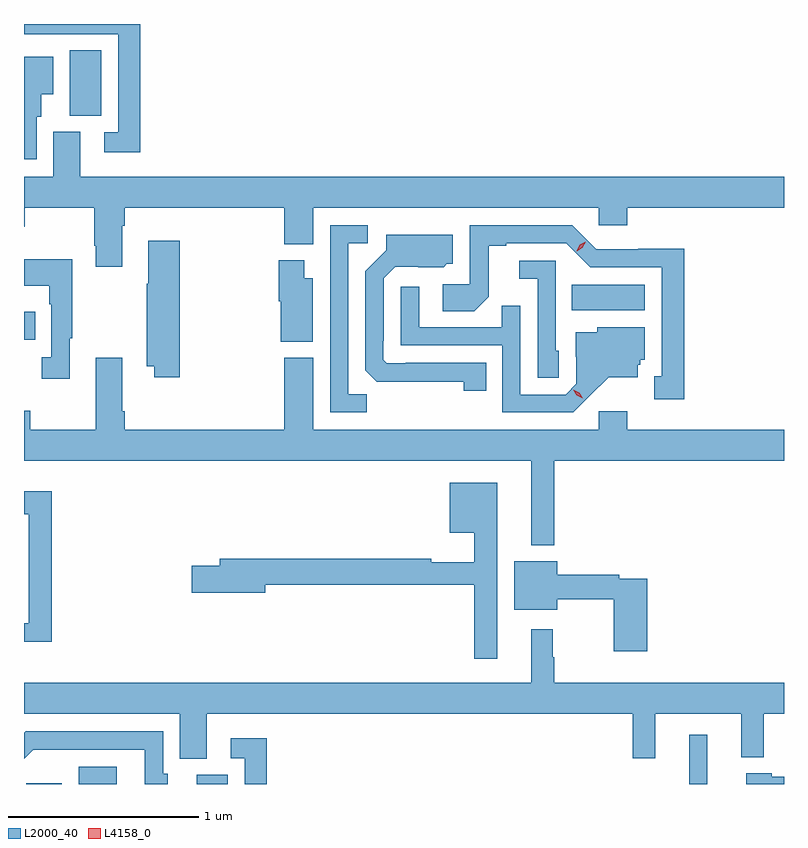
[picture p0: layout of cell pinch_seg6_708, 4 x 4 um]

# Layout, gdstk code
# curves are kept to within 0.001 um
import gdstk
lib = gdstk.Library(unit=1e-6, precision=1e-09)
def R(c, l, rs):  # rectangles x0, y0, x1, y1
    for r in rs: c.add(gdstk.rectangle(r[:2], r[2:], *l))
def P(c, l, *ps):  # polygons
    for p in ps: c.add(gdstk.Polygon(p, *l))
L2000_40 = (2000, 40)
L4158_0 = (4158, 0)

pinch_seg6_708 = lib.new_cell('pinch_seg6_708')
R(pinch_seg6_708, L2000_40, [(614.903,941.639,615.091,941.644), (615.18,941.639,615.379,941.73), (615.8,941.639,615.964,941.688), (618.392,941.639,618.489,941.899), (614.892,943.978,614.951,944.125), (617.776,944.132,618.16,944.266), (615.134,945.157,615.298,945.5)])
P(pinch_seg6_708, L2000_40, [(615.503,945.639),(614.892,945.639),(614.892,945.585),(615.387,945.585),(615.387,945.069),(615.315,945.069),(615.315,944.964),(615.503,944.964)],
  [(614.958,945.15),(614.983,945.15),(614.983,945.269),(615.046,945.269),(615.046,945.466),(614.892,945.466),(614.892,944.928),(614.958,944.928)],
  [(615.409,944.576),(615.422,944.576),(615.422,944.672),(616.262,944.672),(616.262,944.48),(616.414,944.48),(616.414,944.672),(617.916,944.672),(617.916,944.579),(618.068,944.579),(618.068,944.672),(618.892,944.672),(618.892,944.836),(615.187,944.836),(615.187,945.072),(615.047,945.072),(615.047,944.836),(614.892,944.836),(614.892,944.573),(614.895,944.573),(614.895,944.672),(615.262,944.672),(615.262,944.473),(615.269,944.473),(615.269,944.361),(615.409,944.361)],
  [(618.367,944.456),(618.126,944.456),(618.126,944.454),(617.904,944.454),(617.778,944.58),(617.238,944.58),(617.238,944.268),(617.097,944.268),(617.097,944.128),(617.261,944.128),(617.337,944.204),(617.337,944.472),(617.431,944.472),(617.431,944.484),(617.745,944.484),(617.871,944.358),(618.248,944.358),(618.248,943.785),(618.209,943.785),(618.209,943.665),(618.367,943.665)],
  [(616.695,943.691),(616.599,943.691),(616.599,944.484),(616.702,944.484),(616.702,944.58),(616.503,944.58),(616.503,943.596),(616.695,943.596)],
  [(617.324,943.857),(616.9,943.857),(616.9,943.854),(616.8,943.854),(616.782,943.872),(616.782,943.972),(616.785,943.972),(616.785,944.301),(616.845,944.361),(617.102,944.36),(617.118,944.376),(617.149,944.376),(617.149,944.53),(616.799,944.53),(616.799,944.448),(616.689,944.338),(616.689,943.816),(616.748,943.757),(617.206,943.756),(617.206,943.71),(617.324,943.71)],
  [(615.713,944.497),(615.545,944.497),(615.545,944.273),(615.538,944.273),(615.538,943.838),(615.578,943.838),(615.578,943.779),(615.713,943.779)],
  [(615.133,943.985),(615.145,943.985),(615.145,944.401),(614.892,944.401),(614.892,944.261),(615.024,944.261),(615.024,944.165),(615.036,944.165),(615.036,943.886),(614.985,943.886),(614.985,943.773),(615.133,943.773)],
  [(616.411,944.302),(616.366,944.302),(616.366,944.395),(616.232,944.395),(616.232,944.181),(616.244,944.181),(616.244,943.967),(616.411,943.967)],
  [(617.706,943.92),(617.691,943.92),(617.691,944.394),(617.499,944.394),(617.499,944.297),(617.595,944.297),(617.595,943.777),(617.706,943.777)],
  [(617.866,943.679),(617.969,943.781),(618.121,943.781),(618.121,943.845),(618.135,943.845),(618.135,943.872),(618.16,943.872),(618.16,944.044),(617.91,944.044),(617.91,944.017),(617.795,944.017),(617.795,943.888),(617.799,943.888),(617.799,943.746),(617.742,943.689),(617.505,943.689),(617.505,944.156),(617.407,944.156),(617.407,944.043),(616.971,944.043),(616.971,944.257),(616.875,944.257),(616.875,943.947),(617.409,943.947),(617.409,943.596),(617.782,943.596)],
  [(617.683,943.34),(618.892,943.34),(618.892,943.504),(618.068,943.504),(618.068,943.6),(617.916,943.6),(617.916,943.504),(616.414,943.504),(616.414,943.882),(616.262,943.882),(616.262,943.504),(615.422,943.504),(615.422,943.6),(615.409,943.6),(615.409,943.882),(615.269,943.882),(615.269,943.504),(614.925,943.504),(614.925,943.603),(614.892,943.603),(614.892,943.34),(617.561,943.34),(617.561,942.896),(617.683,942.896)],
  [(617.383,943.225),(617.132,943.225),(617.132,942.962),(617.262,942.962),(617.262,942.805),(617.036,942.805),(617.036,942.824),(615.923,942.824),(615.923,942.788),(615.774,942.788),(615.774,942.646),(616.162,942.646),(616.162,942.688),(617.262,942.688),(617.262,942.297),(617.383,942.297)],
  [(615.037,943.18),(614.892,943.18),(614.892,943.059),(614.918,943.059),(614.918,942.486),(614.892,942.486),(614.892,942.389),(615.037,942.389)],
  [(618.173,942.72),(618.026,942.72),(618.026,942.74),(617.698,942.74),(617.698,942.811),(617.471,942.811),(617.471,942.557),(617.698,942.557),(617.698,942.612),(617.995,942.612),(617.995,942.339),(618.173,942.339)],
  [(615.853,942.008),(618.097,942.008),(618.097,941.775),(618.215,941.775),(618.215,942.008),(618.668,942.008),(618.668,941.78),(618.785,941.78),(618.785,942.008),(618.892,942.008),(618.892,942.172),(617.683,942.172),(617.683,942.305),(617.675,942.305),(617.675,942.454),(617.561,942.454),(617.561,942.172),(614.892,942.172),(614.892,942.008),(615.713,942.008),(615.713,941.773),(615.853,941.773)],
  [(615.649,941.694),(615.624,941.694),(615.624,941.916),(614.9,941.916),(614.892,941.908),(614.892,941.772),(614.94,941.82),(615.527,941.82),(615.527,941.639),(615.649,941.639)],
  [(616.169,941.881),(615.981,941.881),(615.981,941.775),(616.053,941.775),(616.053,941.639),(616.169,941.639)],
  [(618.892,941.677),(618.827,941.677),(618.827,941.695),(618.692,941.695),(618.692,941.639),(618.892,941.639)])
P(pinch_seg6_708, L4158_0, [(617.8,944.443),(617.8,944.443),(617.817,944.476),(617.849,944.494),(617.849,944.494),(617.849,944.494),(617.831,944.462),(617.8,944.443)],
  [(617.832,943.67),(617.801,943.685),(617.784,943.714),(617.784,943.715),(617.784,943.715),(617.815,943.699),(617.832,943.67),(617.832,943.67)])

lib.write_gds('pinch_seg6_708.gds')
